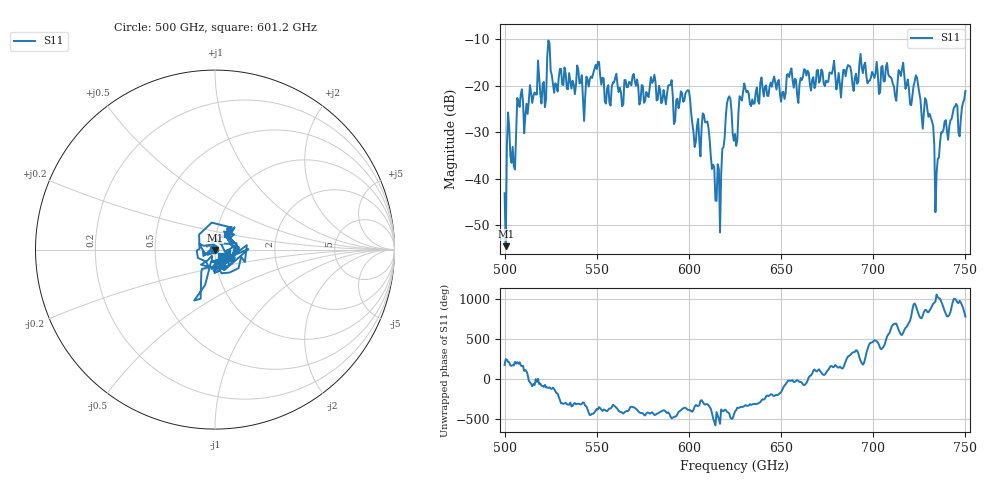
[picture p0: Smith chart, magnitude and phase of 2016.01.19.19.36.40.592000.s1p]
!Created with skrf (http://scikit-rf.org).
# GHz S RI R 50.0
!freq ReS11 ImS11
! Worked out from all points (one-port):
!   401 points, 500 GHz to 750 GHz, reference 50 ohm
!   lowest |S11| = -54.5 dB at 500.6 GHz (marker M1), VSWR 1.00, Z = 49.9 - j0.173 ohm
!   |S11| at or under -10 dB: start of sweep to end of sweep
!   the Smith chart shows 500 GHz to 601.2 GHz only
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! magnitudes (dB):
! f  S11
! 500 GHz  -43.1
! 500.6 GHz  -54.5
! 502.5 GHz  -29.0
! 505 GHz  -37.3
! 508.1 GHz  -24.6
! 521.2 GHz  -19.2
! 524.4 GHz  -10.9
! 527.5 GHz  -19.5
! 531.2 GHz  -19.7
! 543.8 GHz  -22.3
! 550 GHz  -16.4
! 562.5 GHz  -20.4
! 580.6 GHz  -19.0
! 593.8 GHz  -22.8
! 599.4 GHz  -21.0
! 605 GHz  -27.1
! 608.8 GHz  -27.9
! 615.6 GHz  -36.9
! 621.2 GHz  -22.8
! 625 GHz  -30.4
! 630.6 GHz  -20.6
! 656.2 GHz  -18.8
! 687.5 GHz  -15.9
! 718.8 GHz  -18.7
! 729.4 GHz  -25.2
! 734.4 GHz  -38.8
! 738.1 GHz  -29.4
! 750 GHz  -21.1
